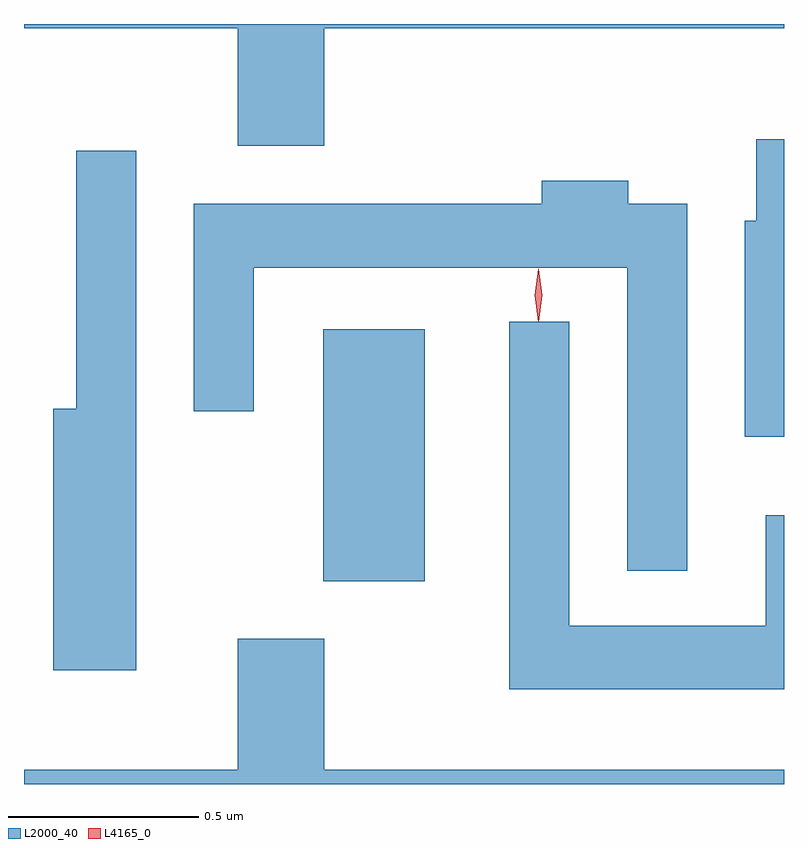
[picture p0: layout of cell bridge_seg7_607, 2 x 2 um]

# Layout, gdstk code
import gdstk
lib = gdstk.Library(unit=1e-6, precision=1e-09)
def R(c, l, rs):  # rectangles x0, y0, x1, y1
    for r in rs: c.add(gdstk.rectangle(r[:2], r[2:], *l))
def P(c, l, *ps):  # polygons
    for p in ps: c.add(gdstk.Polygon(p, *l))
L2000_40 = (2000, 40)
L4165_0 = (4165, 0)

bridge_seg7_607 = lib.new_cell('bridge_seg7_607')
R(bridge_seg7_607, L2000_40, [(631.516,1755.041,631.784,1755.704)])
P(bridge_seg7_607, L2000_40, [(631.519,1756.496),(632.729,1756.496),(632.729,1756.507),(630.729,1756.507),(630.729,1756.496),(631.291,1756.496),(631.291,1756.186),(631.519,1756.186)],
  [(632.729,1756.204),(632.656,1756.204),(632.656,1755.989),(632.626,1755.989),(632.626,1755.421),(632.729,1755.421)],
  [(631.024,1756.173),(630.866,1756.173),(630.866,1755.494),(630.806,1755.494),(630.806,1754.806),(631.024,1754.806)],
  [(632.474,1756.034),(632.319,1756.034),(632.319,1756.094),(632.091,1756.094),(632.091,1756.034),(631.176,1756.034),(631.176,1755.488),(631.334,1755.488),(631.334,1755.866),(632.316,1755.866),(632.316,1755.068),(632.474,1755.068)],
  [(632.729,1755.214),(632.681,1755.214),(632.681,1754.924),(632.164,1754.924),(632.164,1755.723),(632.006,1755.723),(632.006,1754.756),(632.729,1754.756)],
  [(632.729,1754.544),(631.519,1754.544),(631.519,1754.889),(631.291,1754.889),(631.291,1754.544),(630.729,1754.544),(630.729,1754.507),(632.729,1754.507)])
P(bridge_seg7_607, L4165_0, [(632.083,1755.723),(632.082,1755.724),(632.073,1755.793),(632.082,1755.862),(632.083,1755.863),(632.083,1755.862),(632.093,1755.793),(632.083,1755.724)])

lib.write_gds('bridge_seg7_607.gds')
